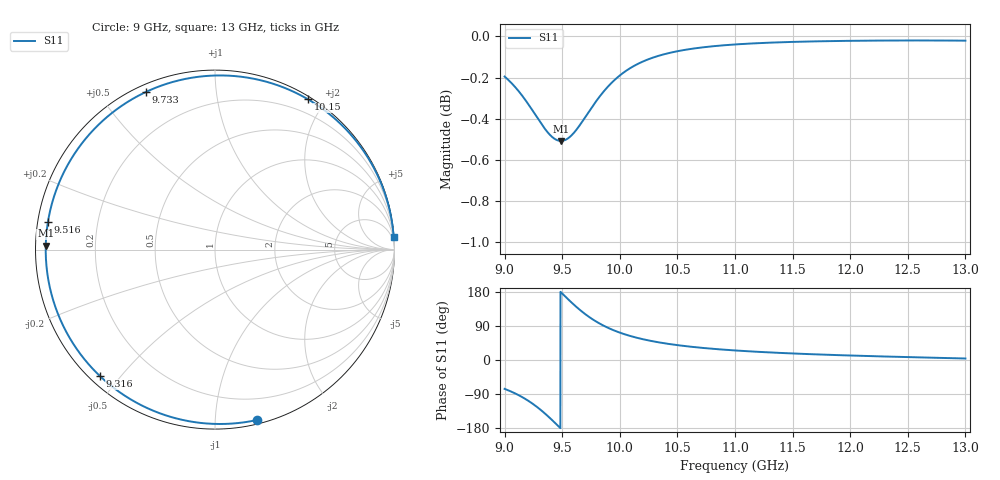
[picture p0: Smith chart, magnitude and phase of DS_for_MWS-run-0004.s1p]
! TOUCHSTONE file generated by CST DESIGN STUDIO
! Date and time: Tue Feb  4 13:38:53 2025
! Project name: C:\Work\MatlabApps\UnitCellOptimizationMatlab\CST\unitcell.cst
! Tree item: Tasks\Sweep1\SPara1\S-Parameters
! Header version: 2024
! Port assignment regex: !\s*Touchstone port\s*([0-9]+)\s*=\s*(CST MWS port|CST DES external port|CST DES block port)\s*(.+)\s* \(\"(.*)\"\)(\s*mode\s*([0-9]+))?.*
! Touchstone port assignment:
! Touchstone port 1 = CST DES external port 1 ("")
# GHz S MA R 50
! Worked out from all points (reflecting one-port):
!   4001 points, 9 GHz to 13 GHz, reference 50 ohm
!   lowest |S11| = -0.5 dB at 9.489 GHz (marker M1), VSWR 34.23, Z = 1.46 + j0.559 ohm
!   phase of S11 starts at -76 deg and turns -280 deg over the sweep
!   S11 on the Smith chart (normalised r, x): 9 GHz: 0.03, -1.28; 9.316 GHz: 0.03, -0.44; 9.516 GHz: 0.03, +0.08; 9.733 GHz: 0.03, +0.65; 10.15 GHz: 0.03, +1.79; 13 GHz: 1, +29
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9  0.9778 -76.2
9.081  0.9728 -86.7
9.181  0.965 -103.0
9.251  0.9586 -117.1
9.316  0.9526 -132.3
9.362  0.9487 -144.4
9.41  0.9455 -157.9
9.45  0.9438 -169.6
9.489  0.9432 178.7
9.5  0.9433 175.4
9.516  0.9435 170.6
9.569  0.9455 155.1
9.629  0.9496 138.5
9.68  0.954 125.7
9.733  0.9589 113.7
9.787  0.9638 102.9
9.847  0.9687 92.5
9.922  0.974 81.6
10  0.9784 72.3
10.153  0.9847 58.3
10.31  0.9887 48.1
10.5  0.9918 39.2
10.722  0.994 31.8
11  0.9956 25.2
11.5  0.997 17.2
12  0.9976 11.8
12.5  0.9978 7.7
13  0.9977 4.0
